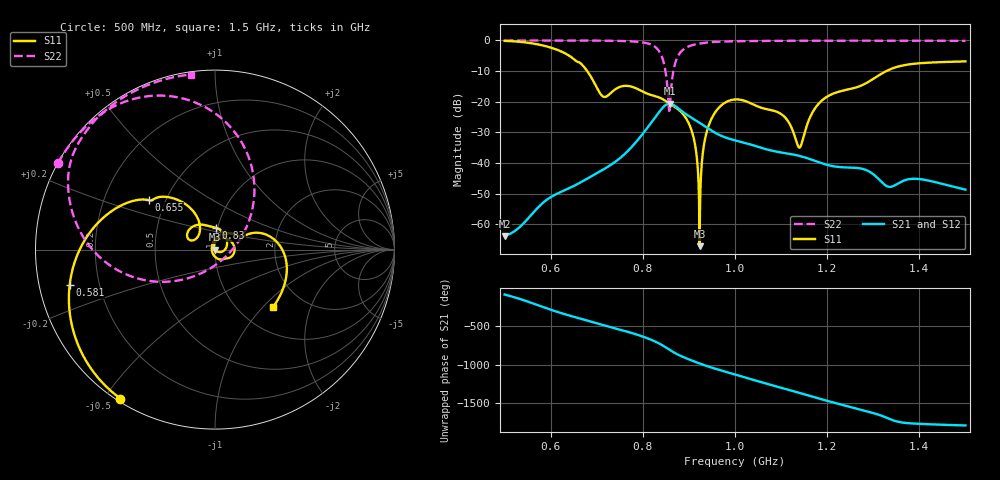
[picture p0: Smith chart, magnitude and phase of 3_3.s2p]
! TOUCHSTONE file generated by CST MICROWAVE STUDIO
! Date and time: Fri Oct 30 07:48:14 2020
! Project name: Scenario_1_Circular_Tissue_out_of_Line.cst
! Parameters = {dy1=-311.318; L_HA=400; MT=2.54; Rad_Dielectric=30; Rad_Lower=7.3; Rad_Upper=30; a_HA=580; a_WG=246; b_HA=500; b_WG=121; c_HA=0; c_WG=187; d_feed=85; dx1=520; h_feed=15; h_lower=18; h_upper=40}
! Header version: 2018
! Port assignment regex: !\s*Touchstone port\s*([0-9]+)\s*=\s*(CST MWS port|CST DS port)\s*([0-9]+|Zmin|Zmax)\s*\(\"(.*)\"\)(\s*mode\s*([0-9]+))?.*
! Touchstone port assignment:
! Touchstone port 1 = CST MWS port 1 ("")
! Touchstone port 2 = CST MWS port 2 ("")
# GHz S DB R 50
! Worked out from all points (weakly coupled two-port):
!   1001 points, 500 MHz to 1.5 GHz, reference 50 ohm
!   highest |S21| = -20.63 dB at 858 MHz (marker M1); lowest = -63.8 dB at 500 MHz (marker M2)
!   lowest |S11| = -67.1 dB at 923 MHz (marker M3), VSWR 1.00, Z = 50 - j0.0184 ohm
!   |S11| at or under -10 dB: 679.2 MHz to 1.328 GHz (649.1 MHz wide, 64.7 % of centre)
!   |S22| runs from -23.0 to 0.0 dB; largest |S21 - S12| = 0.00028
!   S11 on the Smith chart (normalised r, x): 500 MHz: 0.01, -0.55; 581 MHz: 0.09, -0.12; 655 MHz: 0.40, +0.28; 830 MHz: 0.98, +0.24; 1.5 GHz: 1.41, -1.14
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0.5  -0.15 -122.4  -63.78 -88.5  -63.87 -87.9  -0.01 151.1
0.581  -1.58 -166.2  -53.27 114.4  -53.27 115.3  -0.02 145.6
0.655  -6.71 143.3  -47.10 -26.1  -47.10 -26.2  -0.04 139.5
0.667  -7.76 134.0  -46.13 -46.4  -46.12 -46.4  -0.04 138.4
0.714  -18.33 139.0  -42.12 -126.6  -42.11 -126.6  -0.08 133.1
0.788  -15.79 120.9  -32.65 109.0  -32.65 109.0  -0.43 117.7
0.83  -18.31 87.1  -24.44 11.4  -24.44 11.2  -2.53 88.7
0.834  -18.52 82.5  -23.63 -0.4  -23.64 -0.6  -3.22 83.0
0.847  -19.51 66.2  -21.37 -44.4  -21.39 -44.4  -8.32 55.1
0.858  -20.57 52.7  -20.63 -86.7  -20.63 -86.7  -22.74 -68.7
0.874  -22.14 30.8  -21.80 -142.9  -21.80 -142.9  -5.81 -164.3
0.904  -28.60 -20.3  -25.07 138.9  -25.04 138.9  -1.69 165.2
0.913  -33.75 -36.7  -25.91 118.0  -25.88 118.0  -1.32 160.8
0.923  -67.11 -24.7  -26.86 95.5  -26.84 95.4  -1.01 156.9
0.934  -32.89 103.5  -27.94 71.8  -27.95 71.8  -0.77 153.3
0.946  -26.54 82.9  -29.13 47.6  -29.14 47.9  -0.59 150.1
1  -19.25 4.3  -32.58 -46.7  -32.54 -46.6  -0.27 140.2
1.101  -24.11 -62.0  -36.57 138.5  -36.53 138.4  -0.12 129.6
1.139  -34.93 -167.0  -37.64 74.0  -37.66 74.0  -0.11 126.4
1.167  -23.82 84.3  -38.93 25.1  -38.94 25.1  -0.10 124.2
1.334  -9.60 10.4  -47.75 96.3  -47.56 97.8  -0.08 111.5
1.5  -6.84 -44.9  -48.68 9.0  -48.68 9.0  -0.14 97.9
